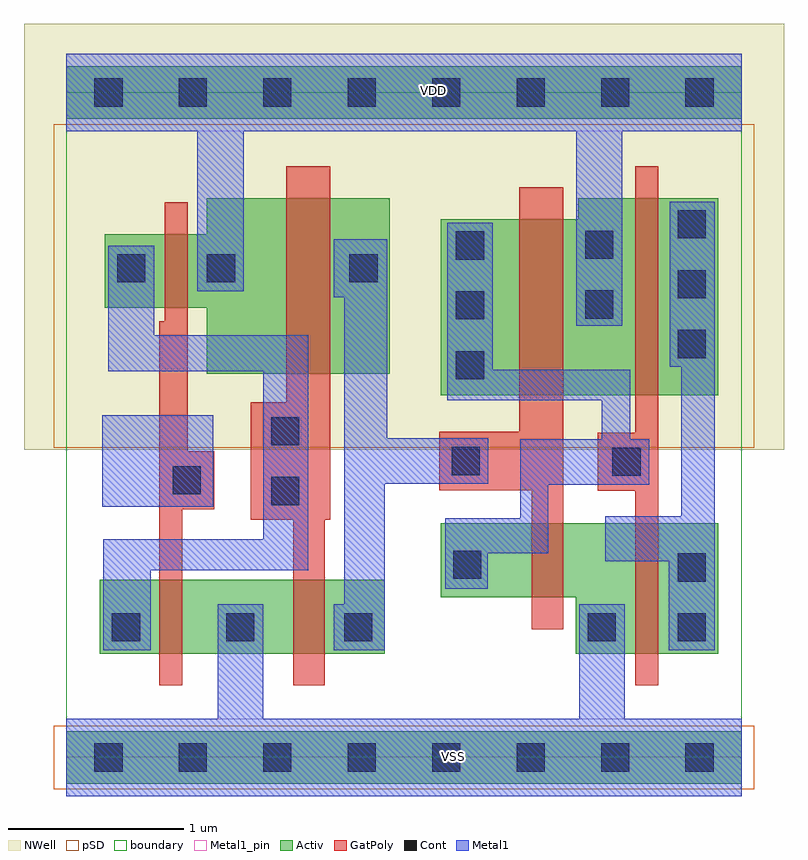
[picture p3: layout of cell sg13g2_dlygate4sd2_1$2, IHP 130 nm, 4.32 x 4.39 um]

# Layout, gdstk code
import gdstk
lib = gdstk.Library(unit=1e-6, precision=5e-09)
def R(c, l, rs):  # rectangles x0, y0, x1, y1
    for r in rs: c.add(gdstk.rectangle(r[:2], r[2:], *l))
def A(c, l, x, y, w, h, nx, ny, dx, dy):  # array of equal rectangles
    R(c, l, [(x+i*dx, y+j*dy, x+i*dx+w, y+j*dy+h) for i in range(nx) for j in range(ny)])
def P(c, l, *ps):  # polygons
    for p in ps: c.add(gdstk.Polygon(p, *l))
Activ = (1, 0)
GatPoly = (5, 0)
Cont = (6, 0)
Metal1 = (8, 0)
Metal1_pin = (8, 2)
pSD = (14, 0)
NWell = (31, 0)
boundary = (189, 4)

sg13g2_dlygate4sd2_1_2 = lib.new_cell('sg13g2_dlygate4sd2_1$2')
R(sg13g2_dlygate4sd2_1_2, Activ, [(-8.365,163.58,-4.525,163.88), (-8.175,164.32,-6.555,164.74), (-8.365,167.36,-4.525,167.66)])
P(sg13g2_dlygate4sd2_1_2, Activ, [(-5.47,164.32),(-5.47,164.64),(-6.235,164.64),(-6.235,165.06),(-4.66,165.06),(-4.66,164.32)],
  [(-6.235,165.79),(-6.235,166.79),(-5.455,166.79),(-5.455,166.91),(-4.66,166.91),(-4.66,165.79)],
  [(-7.565,165.91),(-7.565,166.285),(-8.145,166.285),(-8.145,166.705),(-7.565,166.705),(-7.565,166.91),(-6.525,166.91),(-6.525,165.91)])
P(sg13g2_dlygate4sd2_1_2, GatPoly, [(-5.72,164.46),(-5.72,165.25),(-6.245,165.25),(-6.245,165.58),(-5.79,165.58),(-5.79,166.97),(-5.54,166.97),(-5.54,164.46)],
  [(-7.835,164.14),(-7.835,166.21),(-7.805,166.21),(-7.805,166.885),(-7.675,166.885),(-7.675,165.47),(-7.525,165.47),(-7.525,165.14),(-7.705,165.14),(-7.705,164.14)],
  [(-7.075,164.14),(-7.075,165.08),(-7.315,165.08),(-7.315,165.75),(-7.115,165.75),(-7.115,167.09),(-6.865,167.09),(-6.865,165.08),(-6.895,165.08),(-6.895,164.14)],
  [(-5.13,164.14),(-5.13,165.245),(-5.345,165.245),(-5.345,165.575),(-5.13,165.575),(-5.13,167.09),(-5,167.09),(-5,164.14)])
A(sg13g2_dlygate4sd2_1_2, Cont, -8.205, 163.65, 0.16, 0.16, 8, 2, 0.48, 3.78)
A(sg13g2_dlygate4sd2_1_2, Cont, -6.15, 165.88, 0.16, 0.16, 1, 3, 0, 0.34)
A(sg13g2_dlygate4sd2_1_2, Cont, -4.89, 166, 0.16, 0.16, 1, 3, 0, 0.34)
R(sg13g2_dlygate4sd2_1_2, Cont, [(-8.105,164.39,-7.945,164.55), (-7.455,164.39,-7.295,164.55), (-6.785,164.39,-6.625,164.55), (-5.4,164.39,-5.24,164.55), (-4.89,164.39,-4.73,164.55), (-4.89,164.73,-4.73,164.89), (-6.165,164.745,-6.005,164.905), (-7.2,165.165,-7.04,165.325), (-7.76,165.225,-7.6,165.385), (-5.26,165.33,-5.1,165.49), (-6.175,165.335,-6.015,165.495), (-7.2,165.505,-7.04,165.665), (-5.415,166.225,-5.255,166.385), (-8.075,166.43,-7.915,166.59), (-7.565,166.43,-7.405,166.59), (-6.755,166.43,-6.595,166.59), (-5.415,166.565,-5.255,166.725)])
R(sg13g2_dlygate4sd2_1_2, Metal1, [(-8.16,165.155,-7.53,165.675)])
P(sg13g2_dlygate4sd2_1_2, Metal1, [(-6.21,164.69),(-6.21,165.09),(-5.785,165.09),(-5.785,165.54),(-5.32,165.54),(-5.32,165.76),(-6.2,165.76),(-6.2,166.77),(-5.94,166.77),(-5.94,165.935),(-5.16,165.935),(-5.16,165.54),(-5.05,165.54),(-5.05,165.28),(-5.625,165.28),(-5.625,164.89),(-5.97,164.89),(-5.97,164.69)],
  [(-6.845,164.34),(-6.845,164.6),(-6.785,164.6),(-6.785,166.345),(-6.845,166.345),(-6.845,166.675),(-6.54,166.675),(-6.54,165.545),(-5.965,165.545),(-5.965,165.285),(-6.555,165.285),(-6.555,164.34)],
  [(-8.155,164.34),(-8.155,164.97),(-7.245,164.97),(-7.245,165.925),(-8.125,165.925),(-8.125,166.64),(-7.865,166.64),(-7.865,166.13),(-6.99,166.13),(-6.99,164.795),(-7.885,164.795),(-7.885,164.34)],
  [(-4.94,164.34),(-4.94,164.845),(-5.3,164.845),(-5.3,165.1),(-4.87,165.1),(-4.87,165.95),(-4.935,165.95),(-4.935,166.89),(-4.68,166.89),(-4.68,164.34)],
  [(-5.465,166.185),(-5.465,167.29),(-7.355,167.29),(-7.355,166.38),(-7.62,166.38),(-7.62,167.29),(-8.365,167.29),(-8.365,167.73),(-4.525,167.73),(-4.525,167.29),(-5.205,167.29),(-5.205,166.185)],
  [(-8.365,163.51),(-8.365,163.95),(-7.505,163.95),(-7.505,164.6),(-7.245,164.6),(-7.245,163.95),(-5.45,163.95),(-5.45,164.6),(-5.19,164.6),(-5.19,163.95),(-4.525,163.95),(-4.525,163.51)])
R(sg13g2_dlygate4sd2_1_2, Metal1_pin, [(-8.365,163.51,-4.525,163.95), (-8.365,167.29,-4.525,167.73)])
R(sg13g2_dlygate4sd2_1_2, pSD, [(-8.435,163.55,-4.455,163.91), (-8.435,165.49,-4.455,167.33)])
R(sg13g2_dlygate4sd2_1_2, NWell, [(-8.605,165.48,-4.285,167.9)])
R(sg13g2_dlygate4sd2_1_2, boundary, [(-8.365,163.73,-4.525,167.51)])
sg13g2_dlygate4sd2_1_2.add(gdstk.Label('VDD', (-6.28,167.52), layer=8, texttype=25))
sg13g2_dlygate4sd2_1_2.add(gdstk.Label('VSS', (-6.165,163.735), layer=8, texttype=25))

lib.write_gds('sg13g2_dlygate4sd2_1_2.gds')
